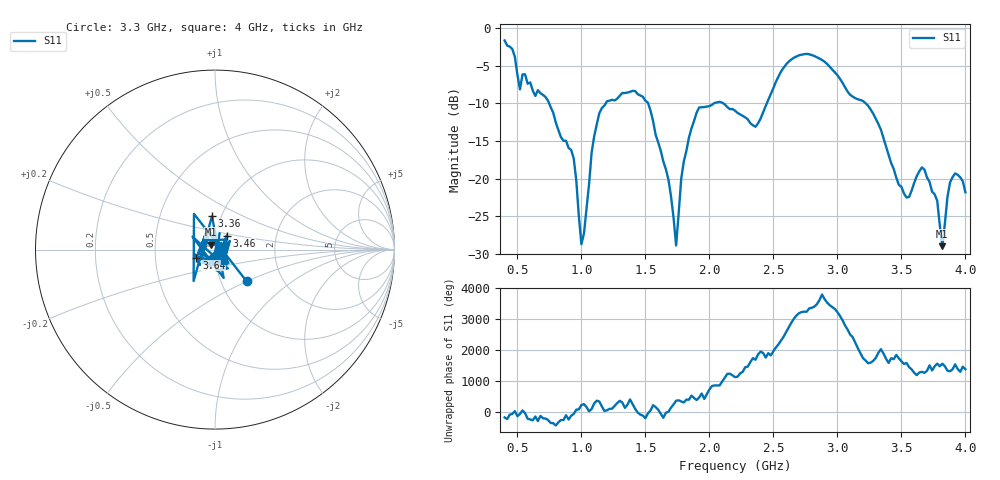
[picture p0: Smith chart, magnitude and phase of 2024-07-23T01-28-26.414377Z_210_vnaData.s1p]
!Created with skrf (http://scikit-rf.org).
# Hz S RI R 50.0
!freq ReS11 ImS11
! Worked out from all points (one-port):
!   181 points, 400 MHz to 4 GHz, reference 50 ohm
!   lowest |S11| = -28.9 dB at 3.82 GHz (marker M1), VSWR 1.07, Z = 47.8 + j2.7 ohm
!   |S11| at or under -10 dB: 747.9 MHz to 1.19 GHz (442 MHz wide, 45.6 % of centre); 1.522 GHz to 2.035 GHz (513.5 MHz wide, 28.9 % of centre); 3.222 GHz to end of sweep (the widest 3 of 4)
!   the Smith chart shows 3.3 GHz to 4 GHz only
!   S11 on the Smith chart (normalised r, x): 3.3 GHz: 1.32, -0.50; 3.36 GHz: 0.90, +0.35; 3.46 GHz: 1.12, +0.18; 3.64 GHz: 0.81, -0.07; 4 GHz: 1.10, -0.14
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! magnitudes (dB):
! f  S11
! 400 MHz  -1.7
! 520 MHz  -8.1
! 720 MHz  -9.2
! 860 MHz  -15.0
! 940 MHz  -17.3
! 1 GHz  -28.7
! 1.08 GHz  -16.5
! 1.14 GHz  -11.3
! 1.3 GHz  -9.0
! 1.52 GHz  -9.9
! 1.68 GHz  -20.1
! 1.74 GHz  -28.8
! 1.76 GHz  -24.6
! 1.8 GHz  -17.7
! 1.92 GHz  -10.5
! 2.2 GHz  -11.0
! 2.36 GHz  -13.1
! 2.66 GHz  -3.9
! 3.1 GHz  -8.9
! 3.3 GHz  -12.1
! 3.36 GHz  -14.6
! 3.46 GHz  -19.8
! 3.56 GHz  -22.4
! 3.64 GHz  -19.0
! 3.78 GHz  -22.9
! 3.82 GHz  -28.9
! 3.88 GHz  -20.5
! 4 GHz  -21.8
